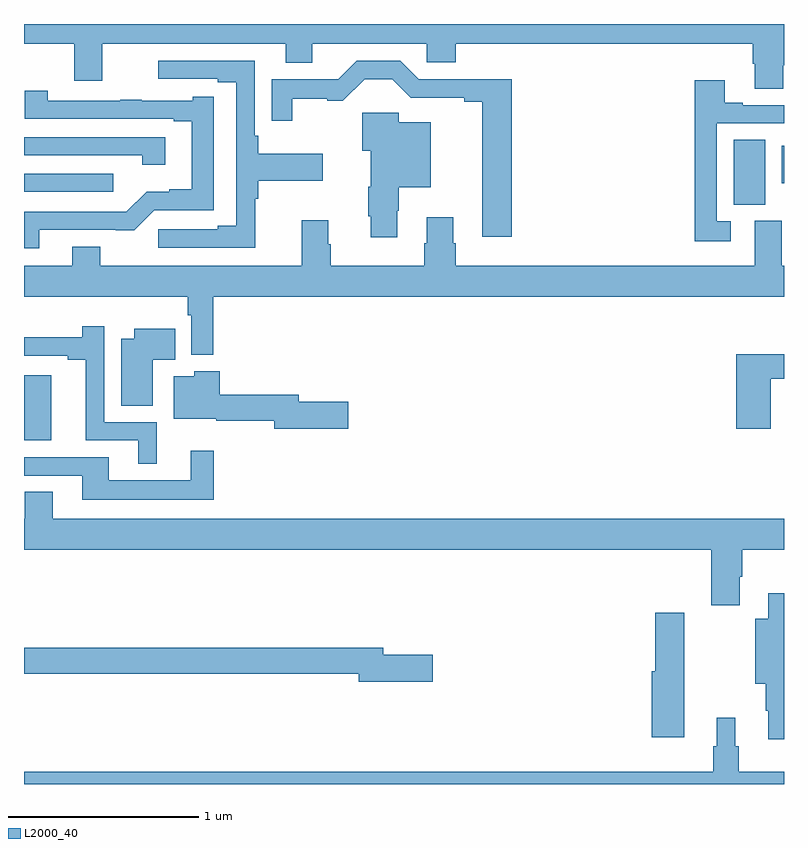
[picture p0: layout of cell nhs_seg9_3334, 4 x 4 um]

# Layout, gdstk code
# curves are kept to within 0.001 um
import gdstk
lib = gdstk.Library(unit=1e-6, precision=1e-09)
def R(c, l, rs):  # rectangles x0, y0, x1, y1
    for r in rs: c.add(gdstk.rectangle(r[:2], r[2:], *l))
def P(c, l, *ps):  # polygons
    for p in ps: c.add(gdstk.Polygon(p, *l))
L2000_40 = (2000, 40)

nhs_seg9_3334 = lib.new_cell('nhs_seg9_3334')
R(nhs_seg9_3334, L2000_40, [(301,1218.308,301.144,1218.652), (304.736,1219.549,304.9,1219.892), (301,1219.617,301.471,1219.713), (304.988,1219.661,305,1219.858)])
P(nhs_seg9_3334, L2000_40, [(304.995,1220.283),(305,1220.283),(305,1220.5),(301,1220.5),(301,1220.396),(301.264,1220.396),(301.264,1220.202),(301.411,1220.202),(301.411,1220.396),(302.378,1220.396),(302.378,1220.297),(302.518,1220.297),(302.518,1220.396),(303.12,1220.396),(303.12,1220.298),(303.272,1220.298),(303.272,1220.396),(304.835,1220.396),(304.835,1220.29),(304.847,1220.29),(304.847,1220.158),(304.995,1220.158)],
  [(302.217,1219.58),(302.234,1219.58),(302.234,1219.676),(302.572,1219.676),(302.572,1219.816),(302.234,1219.816),(302.234,1219.912),(302.214,1219.912),(302.214,1220.307),(301.707,1220.307),(301.707,1220.211),(302.021,1220.211),(302.021,1220.193),(302.118,1220.193),(302.118,1219.439),(302.021,1219.439),(302.021,1219.419),(301.707,1219.419),(301.707,1219.323),(302.217,1219.323)],
  [(303.566,1220.21),(303.317,1220.21),(303.317,1220.208),(303.078,1220.208),(302.979,1220.307),(302.751,1220.307),(302.654,1220.21),(302.304,1220.21),(302.304,1219.992),(302.413,1219.992),(302.413,1220.107),(302.597,1220.107),(302.597,1220.095),(302.678,1220.095),(302.793,1220.21),(302.938,1220.21),(303.036,1220.112),(303.317,1220.112),(303.317,1220.092),(303.413,1220.092),(303.413,1219.38),(303.566,1219.38)],
  [(304.72,1219.461),(304.647,1219.461),(304.647,1219.977),(305,1219.977),(305,1220.073),(304.783,1220.073),(304.783,1220.086),(304.687,1220.086),(304.687,1220.203),(304.531,1220.203),(304.531,1219.356),(304.72,1219.356)],
  [(301.081,1219.416),(301.58,1219.415),(301.686,1219.521),(301.999,1219.521),(301.999,1220.116),(301.887,1220.116),(301.887,1220.097),(301.619,1220.097),(301.619,1220.102),(301.507,1220.102),(301.507,1220.097),(301.125,1220.097),(301.125,1220.149),(301.005,1220.149),(301.005,1220.001),(301.787,1220.001),(301.787,1219.989),(301.883,1219.989),(301.883,1219.63),(301.764,1219.63),(301.764,1219.618),(301.645,1219.618),(301.539,1219.512),(301,1219.512),(301,1219.319),(301.081,1219.319)],
  [(302.965,1219.517),(302.973,1219.517),(302.973,1219.64),(303.142,1219.64),(303.142,1219.984),(302.973,1219.984),(302.973,1220.032),(302.78,1220.032),(302.78,1219.832),(302.825,1219.832),(302.825,1219.644),(302.813,1219.644),(302.813,1219.489),(302.825,1219.489),(302.825,1219.377),(302.965,1219.377)],
  [(301.744,1219.905),(301,1219.905),(301,1219.809),(301.623,1219.809),(301.623,1219.758),(301.744,1219.758)],
  [(305,1219.228),(304.987,1219.228),(304.987,1219.464),(304.847,1219.464),(304.847,1219.228),(303.272,1219.228),(303.272,1219.347),(303.259,1219.347),(303.259,1219.483),(303.119,1219.483),(303.119,1219.347),(303.107,1219.347),(303.107,1219.228),(302.615,1219.228),(302.615,1219.34),(302.602,1219.34),(302.602,1219.468),(302.462,1219.468),(302.462,1219.228),(301.401,1219.228),(301.401,1219.327),(301.253,1219.327),(301.253,1219.228),(301,1219.228),(301,1219.064),(301.861,1219.064),(301.861,1218.968),(301.881,1218.968),(301.881,1218.758),(301.997,1218.758),(301.997,1219.064),(305,1219.064)],
  [(301.699,1218.405),(301.422,1218.405),(301.422,1218.91),(301.306,1218.91),(301.306,1218.851),(301,1218.851),(301,1218.753),(301.229,1218.753),(301.229,1218.733),(301.325,1218.733),(301.325,1218.309),(301.601,1218.309),(301.601,1218.185),(301.699,1218.185)],
  [(301.678,1218.734),(301.796,1218.734),(301.796,1218.895),(301.58,1218.895),(301.58,1218.844),(301.511,1218.844),(301.511,1218.49),(301.678,1218.49)],
  [(304.931,1218.634),(305,1218.634),(305,1218.763),(304.748,1218.763),(304.748,1218.369),(304.931,1218.369)],
  [(302.707,1218.512),(302.446,1218.512),(302.446,1218.548),(302.03,1218.548),(302.03,1218.673),(301.896,1218.673),(301.896,1218.646),(301.787,1218.646),(301.787,1218.422),(302.013,1218.422),(302.013,1218.412),(302.318,1218.412),(302.318,1218.37),(302.707,1218.37)],
  [(301.999,1218.253),(301.877,1218.253),(301.877,1218.1),(301.447,1218.1),(301.447,1218.219),(301,1218.219),(301,1218.123),(301.307,1218.123),(301.307,1217.996),(301.999,1217.996)],
  [(304.768,1217.59),(304.781,1217.59),(304.781,1217.732),(305,1217.732),(305,1217.896),(301.15,1217.896),(301.15,1218.038),(301.003,1218.038),(301.003,1217.896),(301,1217.896),(301,1217.732),(304.616,1217.732),(304.616,1217.442),(304.768,1217.442)],
  [(305,1217.503),(304.916,1217.503),(304.916,1217.371),(304.849,1217.371),(304.849,1217.027),(304.905,1217.027),(304.905,1216.886),(304.917,1216.886),(304.917,1216.736),(305,1216.736)],
  [(304.474,1217.094),(304.476,1217.094),(304.476,1217.401),(304.322,1217.401),(304.322,1217.094),(304.304,1217.094),(304.304,1216.746),(304.474,1216.746)],
  [(303.151,1217.18),(302.89,1217.18),(302.89,1217.216),(301,1217.216),(301,1217.08),(302.762,1217.08),(302.762,1217.038),(303.151,1217.038)],
  [(305,1216.564),(304.763,1216.564),(304.763,1216.698),(304.744,1216.698),(304.744,1216.849),(304.646,1216.849),(304.646,1216.698),(304.627,1216.698),(304.627,1216.564),(301,1216.564),(301,1216.5),(305,1216.5)])

lib.write_gds('nhs_seg9_3334.gds')
